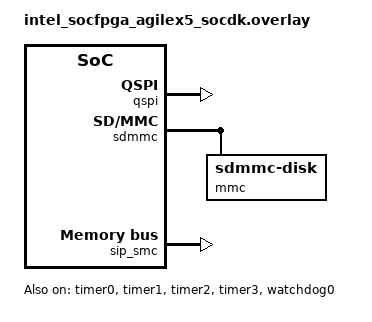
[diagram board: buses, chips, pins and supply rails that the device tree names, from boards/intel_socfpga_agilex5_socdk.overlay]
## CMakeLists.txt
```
# Copyright (c) 2022-2023, Intel Corporation.
# SPDX-License-Identifier: Apache-2.0

cmake_minimum_required(VERSION 3.20.0)

find_package(Zephyr REQUIRED HINTS $ENV{ZEPHYR_BASE})
project(cli)

target_sources(app PRIVATE src/main.c src/rbf_ddr.c)
```

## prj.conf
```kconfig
# Enable Shell
CONFIG_SHELL=y
CONFIG_SHELL_CMD_BUFF_SIZE=4096
CONFIG_SHELL_BACKEND_SERIAL=y
CONFIG_SHELL_HELP=y
CONFIG_SHELL_HISTORY=y
CONFIG_SHELL_HISTORY_BUFFER=1024

# Enable Device Shell to Access Basic Device Data
CONFIG_DEVICE_SHELL=y
CONFIG_DEVMEM_SHELL=y

#Misc
CONFIG_HEAP_MEM_POOL_SIZE=65536
CONFIG_LOG=y
CONFIG_LOG_BUFFER_SIZE=8192

# FPGA Manager: keep stage / DMA / status results visible
CONFIG_FPGA_MANAGER_LOG_LEVEL_INF=y

# Quiet SiP/SMC poll spam ("no valid polling response", msgq wakeups, timing)
CONFIG_ARM_SIP_SVC_SUBSYS_LOG_LEVEL_ERR=y
CONFIG_ARM_SIP_SVC_DRIVER_LOG_LEVEL_ERR=y
CONFIG_FPGA_BRIDGE_LOG_LEVEL_ERR=y

# FPGA Bridge (shell helper; manager uses Altera FPGA driver below)
CONFIG_FPGA_BRIDGE=y
CONFIG_FPGA_BRIDGE_INTEL=y
CONFIG_FPGA_BRIDGE_SHELL=y

# Altera Agilex bridge device (fpga0) used by FPGA manager
CONFIG_FPGA=y
CONFIG_ALTERA_AGILEX_BRIDGE_FPGA=y

# FPGA Manager (load needs the shell command)
CONFIG_FPGA_MANAGER=y
CONFIG_FPGA_MANAGER_INTEL=y
CONFIG_FPGA_MANAGER_SHELL=y
CONFIG_FPGA_MANAGER_THREAD_STACK_SIZE=4096

CONFIG_WATCHDOG=y
CONFIG_WDT_DISABLE_AT_BOOT=y
```

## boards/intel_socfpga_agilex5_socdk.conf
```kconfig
# Copyright (c) 2022-2023, Intel Corporation.
# SPDX-License-Identifier: Apache-2.0

# Misc
CONFIG_SHELL_STACK_SIZE=8192

# Enable QSPI Flash
CONFIG_FLASH=y
CONFIG_FLASH_PAGE_LAYOUT=y
CONFIG_FLASH_SHELL=y

# Enable SDMMC
CONFIG_DISK_ACCESS=y
CONFIG_FILE_SYSTEM=y
CONFIG_FAT_FILESYSTEM_ELM=y
CONFIG_FS_FATFS_LFN=y
CONFIG_FILE_SYSTEM_SHELL=y
CONFIG_FILE_SYSTEM_SHELL_MOUNT_COMMAND=y
CONFIG_FILE_SYSTEM_SHELL_LS_SIZE=y

# Map/dump FPGA_CONFIG and extra MMU tables for the 16MB region
CONFIG_DEVMEM_SHELL=y
CONFIG_MAX_XLAT_TABLES=32
CONFIG_CRC=y

# Setting the Shell prompt
CONFIG_SHELL_PROMPT_UART="agilex5$ "

# Setting the max argc
CONFIG_SHELL_ARGC_MAX=12

# Enable timer driver
CONFIG_COUNTER=y

# Enable Timer shell commands
CONFIG_COUNTER_SHELL=y

# DMA driver
CONFIG_DMA=y
CONFIG_DMA_DW_AXI_MAX_DESC=50

# PSCI shell Enable
CONFIG_PSCI_SHELL=y

#SiP SVC Service
CONFIG_ARM_SIP_SVC_DRIVER=y
CONFIG_ARM_SIP_SVC_SUBSYS=y
CONFIG_ARM_SIP_SVC_SUBSYS_SINGLY_OPEN=y

#SiP SVC Service Shell
CONFIG_ARM_SIP_SVC_SUBSYS_SHELL=y

# GPIO
CONFIG_GPIO=y
CONFIG_GPIO_SHELL=y
CONFIG_GPIO_SHELL_INFO_CMD=n

#I2C driver & shell
CONFIG_I2C=y
CONFIG_I2C_SHELL=y

#I3C driver & shell
CONFIG_I3C=y
CONFIG_I3C_DW=y
CONFIG_I3C_SHELL=y
CONFIG_SENSOR=y
CONFIG_LPS22HH=y
CONFIG_CLOCK_CONTROL=y

CONFIG_FPGA=y
CONFIG_ALTERA_AGILEX_BRIDGE_FPGA=y
CONFIG_FPGA_MANAGER=y
CONFIG_FPGA_MANAGER_INTEL=y
# Agilex5 V2 mailbox path; remapper via SDM_REMAPPER_CONFIG (stock BL31).
```

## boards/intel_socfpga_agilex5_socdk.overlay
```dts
/*
 * Copyright (C) 2023 Intel Corporation
 * SPDX-License-Identifier: Apache-2.0
 */

/* The overlay file should be used to enable any
 * dts nodes required by this application for this
 * board.
 */

&qspi {
	status = "okay";

	/*
	 * Raw core.rbf for HPS-driven fabric load (board farm / faster than SD).
	 * High in the 256MiB MT25QU02G to stay clear of typical boot images.
	 * Adjust if your JIC layout collides with this region.
	 */
	partitions {
		compatible = "fixed-partitions";
		#address-cells = <1>;
		#size-cells = <1>;

		bitstream_partition: partition@e000000 {
			label = "bitstream";
			reg = <0x0e000000 DT_SIZE_M(32)>;
		};
	};
};

&sdmmc {
	status = "okay";

	mmc {
		/*SD Disk Access */
		compatible = "zephyr,sdmmc-disk";
		disk-name = "SD";
		status = "okay";
	};
};

&timer0 {
	status = "okay";
};

&timer1 {
	status = "okay";
};

&timer2 {
	status = "okay";
};

&timer3 {
	status = "okay";
};

&dma0 {
	status = "okay";
};

&dma1 {
	status = "okay";
};

&sip_smc {
	status = "okay";
	zephyr,num-clients = <5>;
};

&fpga_config {
	status = "okay";
};

&gpio0 {
	status = "okay";
};

&gpio1 {
	status = "okay";
};

&watchdog0 {
	status = "okay";
};
```

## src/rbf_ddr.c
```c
/*
 * Copyright (c) 2026, Intel Corporation.
 *
 * SPDX-License-Identifier: Apache-2.0
 */

#include <stdlib.h>
#include <string.h>

#include <zephyr/cache.h>
#include <zephyr/kernel.h>
#include <zephyr/shell/shell.h>
#include <zephyr/fs/fs.h>
#include <zephyr/devicetree.h>
#include <zephyr/drivers/flash.h>
#include <zephyr/sys/crc.h>

#if !DT_NODE_EXISTS(DT_NODELABEL(fpga_config))
#error "fpga_config node is missing from devicetree"
#endif

#define FPGA_CONFIG_BASE ((uint8_t *)DT_REG_ADDR(DT_NODELABEL(fpga_config)))
#define FPGA_CONFIG_SIZE ((size_t)DT_REG_SIZE(DT_NODELABEL(fpga_config)))
#define RBF_CHUNK_SIZE   512

#if DT_NODE_EXISTS(DT_NODELABEL(bitstream_partition))
#define BITSTREAM_QSPI_OFFSET ((off_t)DT_REG_ADDR(DT_NODELABEL(bitstream_partition)))
#define BITSTREAM_QSPI_MAX    ((size_t)DT_REG_SIZE(DT_NODELABEL(bitstream_partition)))
#endif

static size_t rbf_loaded_len;

static int rbf_compare_file(const struct shell *sh, const char *path, size_t len)
{
	uint8_t chunk[RBF_CHUNK_SIZE];
	struct fs_dirent dirent;
	struct fs_file_t file;
	size_t off = 0;
	uint32_t crc_file = 0;
	uint32_t crc_ddr;
	int err;

	if (len == 0) {
		shell_error(sh, "nothing in DDR to compare; run 'rbf load' first");
		return -EINVAL;
	}

	err = fs_stat(path, &dirent);
	if (err != 0) {
		shell_error(sh, "stat %s failed (%d)", path, err);
		return err;
	}

	if (dirent.type != FS_DIR_ENTRY_FILE) {
		shell_error(sh, "%s is not a file", path);
		return -EINVAL;
	}

	if (dirent.size != len) {
		shell_error(sh, "size mismatch: %s is %zu bytes, DDR is %zu bytes",
			    path, dirent.size, len);
		return -EINVAL;
	}

	fs_file_t_init(&file);
	err = fs_open(&file, path, FS_O_READ);
	if (err != 0) {
		shell_error(sh, "open %s failed (%d)", path, err);
		return err;
	}

	while (off < len) {
		size_t nreq = MIN(RBF_CHUNK_SIZE, len - off);
		ssize_t n = fs_read(&file, chunk, nreq);

		if (n != (ssize_t)nreq) {
			shell_error(sh, "verify read failed at offset %zu (%zd)", off, n);
			fs_close(&file);
			return (n < 0) ? (int)n : -EIO;
		}

		crc_file = crc32_ieee_update(crc_file, chunk, nreq);

		if (memcmp(chunk, FPGA_CONFIG_BASE + off, nreq) != 0) {
			for (size_t i = 0; i < nreq; i++) {
				if (chunk[i] != FPGA_CONFIG_BASE[off + i]) {
					shell_error(sh,
						    "mismatch at offset 0x%zx: file=0x%02x ddr=0x%02x",
						    off + i, chunk[i],
						    FPGA_CONFIG_BASE[off + i]);
					fs_close(&file);
					return -EIO;
				}
			}
		}

		off += nreq;
	}

	fs_close(&file);

	crc_ddr = crc32_ieee(FPGA_CONFIG_BASE, len);
	if (crc_file != crc_ddr) {
		shell_error(sh, "CRC mismatch: file=0x%08x ddr=0x%08x", crc_file, crc_ddr);
		return -EIO;
	}

	shell_print(sh, "Verify OK: %zu bytes match (%s <-> DDR 0x%lx) CRC32=0x%08x",
		    len, path, (unsigned long)FPGA_CONFIG_BASE, crc_ddr);
	return 0;
}

static int rbf_load_file(const struct shell *sh, const char *path)
{
	struct fs_dirent dirent;
	struct fs_file_t file;
	size_t total = 0;
	int err;

	err = fs_stat(path, &dirent);
	if (err != 0) {
		shell_error(sh, "stat %s failed (%d)", path, err);
		return err;
	}

	if (dirent.type != FS_DIR_ENTRY_FILE) {
		shell_error(sh, "%s is not a file", path);
		return -EINVAL;
	}

	if (dirent.size > FPGA_CONFIG_SIZE) {
		shell_error(sh, "file %zu bytes exceeds FPGA_CONFIG %zu bytes",
			    dirent.size, FPGA_CONFIG_SIZE);
		return -ENOMEM;
	}

	fs_file_t_init(&file);
	err = fs_open(&file, path, FS_O_READ);
	if (err != 0) {
		shell_error(sh, "open %s failed (%d)", path, err);
		return err;
	}

	while (total < dirent.size) {
		ssize_t n = fs_read(&file, FPGA_CONFIG_BASE + total,
				    MIN(RBF_CHUNK_SIZE, dirent.size - total));

		if (n < 0) {
			shell_error(sh, "read failed at offset %zu (%zd)", total, n);
			fs_close(&file);
			return (int)n;
		}
		if (n == 0) {
			break;
		}
		total += (size_t)n;
	}

	fs_close(&file);
	rbf_loaded_len = total;

	shell_print(sh, "Loaded %zu bytes from %s to 0x%lx",
		    total, path, (unsigned long)FPGA_CONFIG_BASE);

	return rbf_compare_file(sh, path, rbf_loaded_len);
}

static int rbf_save_file(const struct shell *sh, const char *path)
{
	struct fs_file_t file;
	size_t total = 0;
	size_t len = rbf_loaded_len;
	int err;

	if (len == 0) {
		shell_error(sh, "nothing loaded; run 'rbf load' first");
		return -EINVAL;
	}

	fs_file_t_init(&file);
	err = fs_open(&file, path, FS_O_CREATE | FS_O_WRITE);
	if (err != 0) {
		shell_error(sh, "open %s failed (%d)", path, err);
		return err;
	}

	err = fs_truncate(&file, 0);
	if (err != 0) {
		shell_error(sh, "trunc %s failed (%d)", path, err);
		fs_close(&file);
		return err;
	}

	while (total < len) {
		ssize_t n = fs_write(&file, FPGA_CONFIG_BASE + total,
				     MIN(RBF_CHUNK_SIZE, len - total));

		if (n < 0) {
			shell_error(sh, "write failed at offset %zu (%zd)", total, n);
			fs_close(&file);
			return (int)n;
		}
		if (n == 0) {
			shell_error(sh, "short write at offset %zu", total);
			fs_close(&file);
			return -EIO;
		}
		total += (size_t)n;
	}

	fs_close(&file);
	shell_print(sh, "Wrote %zu bytes from 0x%lx to %s",
		    total, (unsigned long)FPGA_CONFIG_BASE, path);

	return rbf_compare_file(sh, path, rbf_loaded_len);
}

#if DT_NODE_EXISTS(DT_NODELABEL(bitstream_partition))
static const struct device *rbf_qspi_dev(void)
{
	return DEVICE_DT_GET(DT_NODELABEL(qspi));
}

static int rbf_load_qspi(const struct shell *sh, size_t len)
{
	const struct device *flash_dev = rbf_qspi_dev();
	uint32_t crc;
	int err;

	if (len == 0 || len > FPGA_CONFIG_SIZE) {
		shell_error(sh, "size %zu invalid (FPGA_CONFIG %zu)", len, FPGA_CONFIG_SIZE);
		return -EINVAL;
	}

	if (len > BITSTREAM_QSPI_MAX) {
		shell_error(sh, "size %zu exceeds QSPI bitstream partition %zu @ 0x%lx",
			    len, BITSTREAM_QSPI_MAX, (unsigned long)BITSTREAM_QSPI_OFFSET);
		return -EFBIG;
	}

	if (!device_is_ready(flash_dev)) {
		shell_error(sh, "QSPI flash device not ready");
		return -ENODEV;
	}

	shell_print(sh, "Reading %zu bytes from QSPI 0x%lx -> DDR 0x%lx ...",
		    len, (unsigned long)BITSTREAM_QSPI_OFFSET,
		    (unsigned long)FPGA_CONFIG_BASE);

	err = flash_read(flash_dev, BITSTREAM_QSPI_OFFSET, FPGA_CONFIG_BASE, len);
	if (err) {
		shell_error(sh, "flash_read failed (%d)", err);
		return err;
	}

	/* Ensure SDM can see the image even if the region is cached. */
	sys_cache_data_flush_range(FPGA_CONFIG_BASE, len);

	rbf_loaded_len = len;
	crc = crc32_ieee(FPGA_CONFIG_BASE, len);

	shell_print(sh, "QSPI->DDR OK: %zu bytes CRC32=0x%08x  first4=%02x %02x %02x %02x",
		    len, crc, FPGA_CONFIG_BASE[0], FPGA_CONFIG_BASE[1],
		    FPGA_CONFIG_BASE[2], FPGA_CONFIG_BASE[3]);
	return 0;
}

static int rbf_save_qspi(const struct shell *sh)
{
	const struct device *flash_dev = rbf_qspi_dev();
	size_t len = rbf_loaded_len;
	size_t erase_len;
	struct flash_pages_info info;
	int err;

	if (len == 0) {
		shell_error(sh, "nothing in DDR; run 'rbf load' (SD) first");
		return -EINVAL;
	}

	if (len > BITSTREAM_QSPI_MAX) {
		shell_error(sh, "DDR len %zu exceeds QSPI partition %zu", len, BITSTREAM_QSPI_MAX);
		return -EFBIG;
	}

	if (!device_is_ready(flash_dev)) {
		shell_error(sh, "QSPI flash device not ready");
		return -ENODEV;
	}

	err = flash_get_page_info_by_offs(flash_dev, BITSTREAM_QSPI_OFFSET, &info);
	if (err) {
		shell_error(sh, "flash_get_page_info_by_offs failed (%d)", err);
		return err;
	}

	erase_len = ROUND_UP(len, info.size);

	shell_print(sh, "Erasing QSPI 0x%lx len 0x%zx (page %zu)...",
		    (unsigned long)BITSTREAM_QSPI_OFFSET, erase_len, info.size);
	err = flash_erase(flash_dev, BITSTREAM_QSPI_OFFSET, erase_len);
	if (err) {
		shell_error(sh, "flash_erase failed (%d)", err);
		return err;
	}

	shell_print(sh, "Writing %zu bytes DDR 0x%lx -> QSPI 0x%lx ...",
		    len, (unsigned long)FPGA_CONFIG_BASE,
		    (unsigned long)BITSTREAM_QSPI_OFFSET);
	err = flash_write(flash_dev, BITSTREAM_QSPI_OFFSET, FPGA_CONFIG_BASE, len);
	if (err) {
		shell_error(sh, "flash_write failed (%d)", err);
		return err;
	}

	shell_print(sh, "QSPI program done (%zu bytes). Re-read with: rbf load_qspi %zu",
		    len, len);
	return 0;
}
#endif /* bitstream_partition */

static int cmd_rbf_info(const struct shell *sh, size_t argc, char **argv)
{
	ARG_UNUSED(argc);
	ARG_UNUSED(argv);

	shell_print(sh, "FPGA_CONFIG base: 0x%lx", (unsigned long)FPGA_CONFIG_BASE);
	shell_print(sh, "FPGA_CONFIG size: %zu bytes", FPGA_CONFIG_SIZE);
	shell_print(sh, "Last loaded:      %zu bytes", rbf_loaded_len);
#if DT_NODE_EXISTS(DT_NODELABEL(bitstream_partition))
	shell_print(sh, "QSPI bitstream:   0x%lx size %zu",
		    (unsigned long)BITSTREAM_QSPI_OFFSET, BITSTREAM_QSPI_MAX);
#endif
	return 0;
}

static int cmd_rbf_load(const struct shell *sh, size_t argc, char **argv)
{
	ARG_UNUSED(argc);

	return rbf_load_file(sh, argv[1]);
}

static int cmd_rbf_save(const struct shell *sh, size_t argc, char **argv)
{
	ARG_UNUSED(argc);

	return rbf_save_file(sh, argv[1]);
}

static int cmd_rbf_verify(const struct shell *sh, size_t argc, char **argv)
{
	ARG_UNUSED(argc);

	return rbf_compare_file(sh, argv[1], rbf_loaded_len);
}

/*
 * CPU-touch every byte then rewrite in place. A/B: if QSPI/Cadence DMA left
 * lines that SDM cannot see even after L3 flush, a CPU bounce may fix load_mem.
 */
static int cmd_rbf_bounce(const struct shell *sh, size_t argc, char **argv)
{
	char *endptr;
	unsigned long len;
	uint8_t *dst = FPGA_CONFIG_BASE;
	uint8_t tmp[RBF_CHUNK_SIZE];
	size_t off = 0;
	uint32_t crc;

	ARG_UNUSED(argc);

	len = strtoul(argv[1], &endptr, 0);
	if (*endptr != '\0' || len == 0UL || len > FPGA_CONFIG_SIZE) {
		shell_error(sh, "Invalid size '%s' (max %zu)", argv[1], FPGA_CONFIG_SIZE);
		return -EINVAL;
	}

	shell_print(sh, "CPU bounce %lu bytes at %p ...", len, dst);
	while (off < (size_t)len) {
		size_t n = MIN(sizeof(tmp), (size_t)len - off);

		memcpy(tmp, dst + off, n);
		memcpy(dst + off, tmp, n);
		off += n;
	}
	sys_cache_data_flush_range(dst, (size_t)len);
	crc = crc32_ieee(dst, (size_t)len);
	rbf_loaded_len = (size_t)len;
	shell_print(sh, "Bounce OK CRC32=0x%08x first4=%02x %02x %02x %02x",
		    crc, dst[0], dst[1], dst[2], dst[3]);
	return 0;
}

#if DT_NODE_EXISTS(DT_NODELABEL(bitstream_partition))
static int cmd_rbf_load_qspi(const struct shell *sh, size_t argc, char **argv)
{
	char *endptr;
	unsigned long len;

	ARG_UNUSED(argc);

	len = strtoul(argv[1], &endptr, 0);
	if (*endptr != '\0' || len == 0UL) {
		shell_error(sh, "Invalid size '%s'", argv[1]);
		return -EINVAL;
	}

	return rbf_load_qspi(sh, (size_t)len);
}

static int cmd_rbf_save_qspi(const struct shell *sh, size_t argc, char **argv)
{
	ARG_UNUSED(argc);
	ARG_UNUSED(argv);

	return rbf_save_qspi(sh);
}
#endif

SHELL_STATIC_SUBCMD_SET_CREATE(rbf_cmds,
	SHELL_CMD_ARG(info, NULL, "Show FPGA_CONFIG address and last load size",
		      cmd_rbf_info, 1, 0),
	SHELL_CMD_ARG(load, NULL, "Read RBF from SD into FPGA_CONFIG\n"
		      "Usage: rbf load <path>\n"
		      "Example: rbf load /SD:/baseline.core.rbf",
		      cmd_rbf_load, 2, 0),
	SHELL_CMD_ARG(save, NULL, "Write FPGA_CONFIG back to SD\n"
		      "Usage: rbf save <path>\n"
		      "Example: rbf save /SD:/RBFCOPY.RBF",
		      cmd_rbf_save, 2, 0),
	SHELL_CMD_ARG(verify, NULL, "Compare SD file with FPGA_CONFIG DDR\n"
		      "Usage: rbf verify <path>\n"
		      "Example: rbf verify /SD:/baseline.core.rbf",
		      cmd_rbf_verify, 2, 0),
	SHELL_CMD_ARG(bounce, NULL,
		      "CPU read/write rewrite of FPGA_CONFIG (A/B vs Cadence DMA)\n"
		      "Usage: rbf bounce <size>   (after rbf load_qspi / load)",
		      cmd_rbf_bounce, 2, 0),
#if DT_NODE_EXISTS(DT_NODELABEL(bitstream_partition))
	SHELL_CMD_ARG(load_qspi, NULL,
		      "Read RBF from QSPI bitstream partition into FPGA_CONFIG\n"
		      "Usage: rbf load_qspi <size>\n"
		      "Example: rbf load_qspi 2256896",
		      cmd_rbf_load_qspi, 2, 0),
	SHELL_CMD_ARG(save_qspi, NULL,
		      "Program last-loaded DDR RBF into QSPI bitstream partition\n"
		      "Usage: rbf save_qspi   (after rbf load from SD)",
		      cmd_rbf_save_qspi, 1, 0),
#endif
	SHELL_SUBCMD_SET_END
);

SHELL_CMD_REGISTER(rbf, &rbf_cmds, "Copy RBF between SD/QSPI and FPGA_CONFIG DDR", NULL);
```
